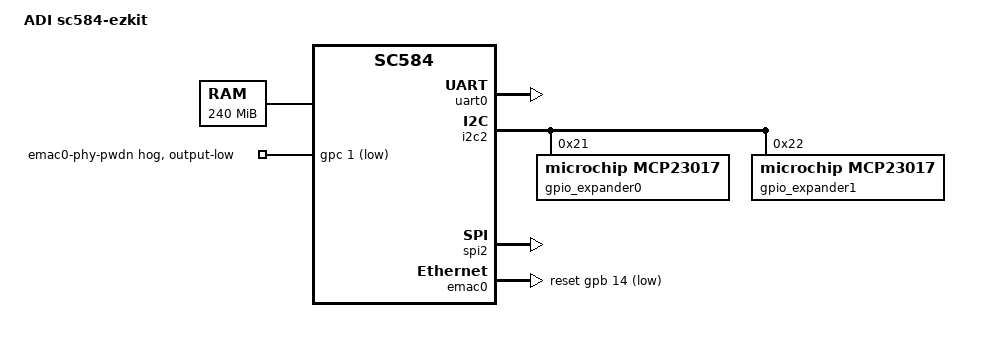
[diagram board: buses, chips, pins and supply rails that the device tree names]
// SPDX-License-Identifier: GPL-2.0-or-later
/*
 * Device tree for ADI sc584-ezkit board
 *
 * Copyright 2014 - 2018 Analog Devices Inc.
 */

/dts-v1/;

#include <dt-bindings/gpio/gpio.h>
#include <dt-bindings/pinctrl/adi-adsp.h>
#include "sc58x.dtsi"

/ {
	model = "ADI sc584-ezkit";
	compatible = "adi,sc584-ezkit", "adi,sc58x";

	aliases {
	};

	memory@C3000000 {
		device_type = "memory";
		reg = <0xC3000000 0xF000000>;
	};
};

&uart0 {
	pinctrl-names = "default";
	pinctrl-0 = <&uart0_default>;
	status = "okay";
};

&i2c2 {
	status = "okay";

	gpio_expander0: mcp23017@21 {
		compatible = "microchip,mcp23017";
		reg = <0x21>;
		gpio-controller;
		#gpio-cells = <2>;
	};

	gpio_expander1: mcp23017@22 {
		compatible = "microchip,mcp23017";
		reg = <0x22>;
		gpio-controller;
		#gpio-cells = <2>;
	};
};

&spi2 {
	pinctrl-names = "default";
	pinctrl-0 = <&spi2_quad>;
	status = "okay";
};

&emac0 {
	pinctrl-names = "default";
	pinctrl-0 = <&eth0_default>;
	snps,reset-gpio = <&gpb 14 GPIO_ACTIVE_LOW>;
	snps,reset-delays-us = <0 10000 10000>;
	status = "okay";
};

&gpc {
	emac0-phy-pwdn-hog {
		gpio-hog;
		gpios = <1 GPIO_ACTIVE_LOW>;
		output-low;
		line-name = "emac0-phy-pwdn";
	};
};

&pinctrl0 {
	uart0_default: uart0_default_pins {
		pins {
			pinmux = <ADI_ADSP_PINMUX('C', 13, ADI_ADSP_PINFUNC_ALT0)>,
				 <ADI_ADSP_PINMUX('C', 14, ADI_ADSP_PINFUNC_ALT0)>;
		};
	};

	eth0_default: eth0_default_pins {
		pins {
			pinmux = <ADI_ADSP_PINMUX('A', 0, ADI_ADSP_PINFUNC_ALT0)>,
				 <ADI_ADSP_PINMUX('A', 1, ADI_ADSP_PINFUNC_ALT0)>,
				 <ADI_ADSP_PINMUX('A', 2, ADI_ADSP_PINFUNC_ALT0)>,
				 <ADI_ADSP_PINMUX('A', 3, ADI_ADSP_PINFUNC_ALT0)>,
				 <ADI_ADSP_PINMUX('A', 4, ADI_ADSP_PINFUNC_ALT0)>,
				 <ADI_ADSP_PINMUX('A', 5, ADI_ADSP_PINFUNC_ALT0)>,
				 <ADI_ADSP_PINMUX('A', 6, ADI_ADSP_PINFUNC_ALT0)>,
				 <ADI_ADSP_PINMUX('A', 7, ADI_ADSP_PINFUNC_ALT0)>,
				 <ADI_ADSP_PINMUX('A', 8, ADI_ADSP_PINFUNC_ALT0)>,
				 <ADI_ADSP_PINMUX('A', 9, ADI_ADSP_PINFUNC_ALT0)>,
				 <ADI_ADSP_PINMUX('A', 10, ADI_ADSP_PINFUNC_ALT0)>,
				 <ADI_ADSP_PINMUX('A', 11, ADI_ADSP_PINFUNC_ALT0)>,
				 <ADI_ADSP_PINMUX('A', 12, ADI_ADSP_PINFUNC_ALT0)>,
				 <ADI_ADSP_PINMUX('A', 13, ADI_ADSP_PINFUNC_ALT0)>;
		};
	};

	spi2_quad: spi2_quad_pins {
		pins {
			pinmux = <ADI_ADSP_PINMUX('C', 1, ADI_ADSP_PINFUNC_ALT0)>,
				 <ADI_ADSP_PINMUX('C', 2, ADI_ADSP_PINFUNC_ALT0)>,
				 <ADI_ADSP_PINMUX('C', 3, ADI_ADSP_PINFUNC_ALT0)>,
				 <ADI_ADSP_PINMUX('C', 4, ADI_ADSP_PINFUNC_ALT0)>,
				 <ADI_ADSP_PINMUX('C', 5, ADI_ADSP_PINFUNC_ALT0)>,
				 <ADI_ADSP_PINMUX('C', 6, ADI_ADSP_PINFUNC_ALT0)>;
		};
	};
};
